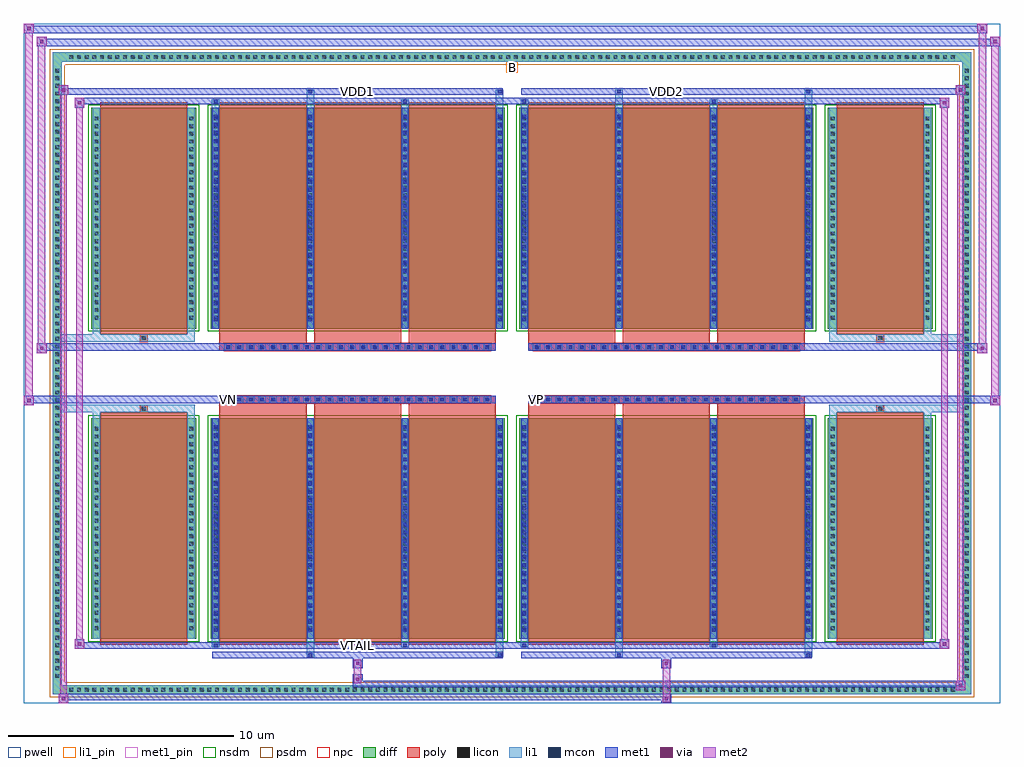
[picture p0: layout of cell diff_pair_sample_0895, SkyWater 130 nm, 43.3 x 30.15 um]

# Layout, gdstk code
import gdstk
lib = gdstk.Library(unit=1e-6, precision=5e-09)
def R(c, l, rs):  # rectangles x0, y0, x1, y1
    for r in rs: c.add(gdstk.rectangle(r[:2], r[2:], *l))
def A(c, l, x, y, w, h, nx, ny, dx, dy):  # array of equal rectangles
    R(c, l, [(x+i*dx, y+j*dy, x+i*dx+w, y+j*dy+h) for i in range(nx) for j in range(ny)])
def P(c, l, *ps):  # polygons
    for p in ps: c.add(gdstk.Polygon(p, *l))
pwell = (64, 44)
diff = (65, 20)
poly = (66, 20)
licon = (66, 44)
li1_pin = (67, 16)
li1 = (67, 20)
mcon = (67, 44)
met1_pin = (68, 16)
met1 = (68, 20)
via = (68, 44)
met2 = (69, 20)
nsdm = (93, 44)
psdm = (94, 20)
npc = (95, 20)

diff_pair_sample_0895 = lib.new_cell('diff_pair_sample_0895')
R(diff_pair_sample_0895, pwell, [(-21.65,-14.64,21.65,15.51), (-18.97,-12.83,-0.01,-0.795), (0.01,-12.83,18.97,-0.795), (-18.97,0.795,-0.01,12.83), (0.01,0.795,18.97,12.83)])
A(diff_pair_sample_0895, diff, -19.755, -14.24, 0.41, 0.41, 116, 2, 0.34, 28.07)
A(diff_pair_sample_0895, diff, -20.38, -13.635, 0.41, 0.41, 1, 80, 0, 0.34)
A(diff_pair_sample_0895, diff, 19.97, -13.635, 0.41, 0.41, 1, 80, 0, 0.34)
R(diff_pair_sample_0895, diff, [(-19.755,-14.24,19.755,-13.83), (-20.38,-13.635,-19.97,13.635), (19.97,-13.635,20.38,13.635), (-18.66,-11.785,-14.01,-1.985), (-13.37,-11.785,-0.32,-1.985), (0.32,-11.785,13.37,-1.985), (14.01,-11.785,18.66,-1.985), (-18.66,1.985,-14.01,11.785), (-13.37,1.985,-0.32,11.785), (0.32,1.985,13.37,11.785), (14.01,1.985,18.66,11.785), (-19.755,13.83,19.755,14.24)])
P(diff_pair_sample_0895, diff, [(20.38,14.24),(-20.38,14.24),(-20.38,-13.83),(-19.97,-13.83),(-19.97,13.83),(19.97,13.83),(19.97,-13.83),(-19.97,-13.83),(-20.38,-13.83),(-20.38,-14.24),(20.38,-14.24)])
A(diff_pair_sample_0895, poly, -12.98, -12.035, 3.87, 10.3, 3, 2, 4.2, 13.77)
A(diff_pair_sample_0895, poly, 0.71, -12.035, 3.87, 10.3, 3, 2, 4.2, 13.77)
A(diff_pair_sample_0895, poly, -12.98, -1.735, 3.87, 0.41, 3, 2, 4.2, 3.06)
A(diff_pair_sample_0895, poly, 0.71, -1.735, 3.87, 0.41, 3, 2, 4.2, 3.06)
A(diff_pair_sample_0895, poly, -12.76, -1.325, 0.33, 0.33, 24, 2, 0.5, 2.32)
A(diff_pair_sample_0895, poly, 0.93, -1.325, 0.33, 0.33, 24, 2, 0.5, 2.32)
R(diff_pair_sample_0895, poly, [(-18.27,-12.035,-14.4,-1.735), (14.4,-12.035,18.27,-1.735), (-16.5,-1.735,-16.17,-1.405), (-16.5,-1.735,-16.17,-1.405), (16.17,-1.735,16.5,-1.405), (16.17,-1.735,16.5,-1.405), (-12.98,-1.325,-0.71,-0.995), (0.71,-1.325,12.98,-0.995), (-12.98,0.995,-0.71,1.325), (0.71,0.995,12.98,1.325), (-16.5,1.405,-16.17,1.735), (-16.5,1.405,-16.17,1.735), (16.17,1.405,16.5,1.735), (16.17,1.405,16.5,1.735), (-18.27,1.735,-14.4,12.035), (14.4,1.735,18.27,12.035)])
A(diff_pair_sample_0895, licon, -19.635, -14.12, 0.17, 0.17, 116, 2, 0.34, 28.07)
A(diff_pair_sample_0895, licon, -20.26, -13.515, 0.17, 0.17, 1, 80, 0, 0.34)
A(diff_pair_sample_0895, licon, 20.09, -13.515, 0.17, 0.17, 1, 80, 0, 0.34)
A(diff_pair_sample_0895, licon, -18.52, -11.39, 0.17, 0.17, 1, 27, 0, 0.34)
A(diff_pair_sample_0895, licon, -14.32, -11.39, 0.17, 0.17, 1, 27, 0, 0.34)
A(diff_pair_sample_0895, licon, -13.23, -11.39, 0.17, 0.17, 4, 27, 4.2, 0.34)
A(diff_pair_sample_0895, licon, 0.46, -11.39, 0.17, 0.17, 4, 27, 4.2, 0.34)
A(diff_pair_sample_0895, licon, 14.15, -11.39, 0.17, 0.17, 1, 27, 0, 0.34)
A(diff_pair_sample_0895, licon, 18.35, -11.39, 0.17, 0.17, 1, 27, 0, 0.34)
A(diff_pair_sample_0895, licon, -12.68, -1.245, 0.17, 0.17, 24, 2, 0.5, 2.32)
A(diff_pair_sample_0895, licon, 1.01, -1.245, 0.17, 0.17, 24, 2, 0.5, 2.32)
A(diff_pair_sample_0895, licon, -18.52, 2.38, 0.17, 0.17, 1, 27, 0, 0.34)
A(diff_pair_sample_0895, licon, -14.32, 2.38, 0.17, 0.17, 1, 27, 0, 0.34)
A(diff_pair_sample_0895, licon, -13.23, 2.38, 0.17, 0.17, 4, 27, 4.2, 0.34)
A(diff_pair_sample_0895, licon, 0.46, 2.38, 0.17, 0.17, 4, 27, 4.2, 0.34)
A(diff_pair_sample_0895, licon, 14.15, 2.38, 0.17, 0.17, 1, 27, 0, 0.34)
A(diff_pair_sample_0895, licon, 18.35, 2.38, 0.17, 0.17, 1, 27, 0, 0.34)
R(diff_pair_sample_0895, licon, [(-16.42,-1.655,-16.25,-1.485), (16.25,-1.655,16.42,-1.485), (-16.42,1.485,-16.25,1.655), (16.25,1.485,16.42,1.655)])
R(diff_pair_sample_0895, li1_pin, [(-0.25,13.33,0.25,13.83)])
A(diff_pair_sample_0895, li1, -19.715, -14.2, 0.33, 0.33, 116, 2, 0.34, 28.07)
A(diff_pair_sample_0895, li1, -20.34, -13.595, 0.33, 0.33, 1, 80, 0, 0.34)
A(diff_pair_sample_0895, li1, 20.01, -13.595, 0.33, 0.33, 1, 80, 0, 0.34)
A(diff_pair_sample_0895, li1, -13.31, -11.785, 0.33, 9.8, 4, 2, 4.2, 13.77)
A(diff_pair_sample_0895, li1, 0.38, -11.785, 0.33, 9.8, 4, 2, 4.2, 13.77)
A(diff_pair_sample_0895, li1, -18.6, -11.47, 0.33, 0.33, 1, 27, 0, 0.34)
A(diff_pair_sample_0895, li1, -14.4, -11.47, 0.33, 0.33, 1, 27, 0, 0.34)
A(diff_pair_sample_0895, li1, -13.31, -11.47, 0.33, 0.33, 4, 27, 4.2, 0.34)
A(diff_pair_sample_0895, li1, -13.23, -11.47, 0.17, 0.17, 4, 26, 4.2, 0.36)
A(diff_pair_sample_0895, li1, -13.23, -11.47, 0.17, 9.17, 4, 2, 4.2, 13.77)
A(diff_pair_sample_0895, li1, 0.38, -11.47, 0.33, 0.33, 4, 27, 4.2, 0.34)
A(diff_pair_sample_0895, li1, 0.46, -11.47, 0.17, 0.17, 4, 26, 4.2, 0.36)
A(diff_pair_sample_0895, li1, 0.46, -11.47, 0.17, 9.17, 4, 2, 4.2, 13.77)
A(diff_pair_sample_0895, li1, 14.07, -11.47, 0.33, 0.33, 1, 27, 0, 0.34)
A(diff_pair_sample_0895, li1, 18.27, -11.47, 0.33, 0.33, 1, 27, 0, 0.34)
A(diff_pair_sample_0895, li1, -12.76, -1.325, 0.33, 0.33, 24, 2, 0.5, 2.32)
A(diff_pair_sample_0895, li1, 0.93, -1.325, 0.33, 0.33, 24, 2, 0.5, 2.32)
A(diff_pair_sample_0895, li1, -18.6, 2.3, 0.33, 0.33, 1, 27, 0, 0.34)
A(diff_pair_sample_0895, li1, -14.4, 2.3, 0.33, 0.33, 1, 27, 0, 0.34)
A(diff_pair_sample_0895, li1, -13.31, 2.3, 0.33, 0.33, 4, 27, 4.2, 0.34)
A(diff_pair_sample_0895, li1, -13.23, 2.3, 0.17, 0.17, 4, 26, 4.2, 0.36)
A(diff_pair_sample_0895, li1, 0.38, 2.3, 0.33, 0.33, 4, 27, 4.2, 0.34)
A(diff_pair_sample_0895, li1, 0.46, 2.3, 0.17, 0.17, 4, 26, 4.2, 0.36)
A(diff_pair_sample_0895, li1, 14.07, 2.3, 0.33, 0.33, 1, 27, 0, 0.34)
A(diff_pair_sample_0895, li1, 18.27, 2.3, 0.33, 0.33, 1, 27, 0, 0.34)
R(diff_pair_sample_0895, li1, [(-20.38,-14.24,-19.97,-13.83), (-20.38,-14.24,-19.97,-13.83), (-19.97,-14.24,19.97,-13.83), (19.97,-14.24,20.38,-13.83), (19.97,-14.24,20.38,-13.83), (-20.38,-13.83,-19.97,13.83), (19.97,-13.83,20.38,13.83), (-9.11,-12.59,-8.78,-11.785), (-9.03,-12.59,-8.86,-12.42), (-0.71,-12.59,-0.38,-11.785), (-0.63,-12.59,-0.46,-12.42), (4.58,-12.59,4.91,-11.785), (4.66,-12.59,4.83,-12.42), (12.98,-12.59,13.31,-11.785), (13.06,-12.59,13.23,-12.42), (-13.31,-12.16,-12.98,-11.785), (-13.23,-12.16,-13.06,-11.99), (-4.91,-12.16,-4.58,-11.785), (-4.83,-12.16,-4.66,-11.99), (0.38,-12.16,0.71,-11.785), (0.46,-12.16,0.63,-11.99), (8.78,-12.16,9.11,-11.785), (8.86,-12.16,9.03,-11.99), (-18.6,-11.785,-18.27,-1.985), (-14.4,-11.785,-14.07,-1.985), (14.07,-11.785,14.4,-1.985), (18.27,-11.785,18.6,-1.985), (-18.6,-1.985,-18.27,-1.405), (-14.4,-1.985,-14.07,-1.405), (14.07,-1.985,14.4,-1.405), (18.27,-1.985,18.6,-1.405), (-20.38,-1.735,-16.5,-1.405), (-18.6,-1.735,-16.5,-1.405), (-16.5,-1.735,-16.17,-1.405), (-16.17,-1.735,-14.07,-1.405), (14.07,-1.735,16.17,-1.405), (16.17,-1.735,16.5,-1.405), (16.17,-1.735,20.38,-1.405), (16.5,-1.735,18.6,-1.405), (-20.38,1.405,-16.5,1.735), (-18.6,1.405,-16.5,1.735), (-18.6,1.405,-18.27,1.985), (-16.5,1.405,-16.17,1.735), (-16.17,1.405,-14.07,1.735), (-14.4,1.405,-14.07,1.985), (14.07,1.405,16.17,1.735), (14.07,1.405,14.4,1.985), (16.17,1.405,16.5,1.735), (16.17,1.405,20.38,1.735), (16.5,1.405,18.6,1.735), (18.27,1.405,18.6,1.985), (-18.6,1.985,-18.27,11.785), (-14.4,1.985,-14.07,11.785), (14.07,1.985,14.4,11.785), (18.27,1.985,18.6,11.785), (-13.31,11.785,-12.98,12.16), (-9.11,11.785,-8.78,12.59), (-4.91,11.785,-4.58,12.16), (-0.71,11.785,-0.38,12.59), (0.38,11.785,0.71,12.16), (4.58,11.785,4.91,12.59), (8.78,11.785,9.11,12.16), (12.98,11.785,13.31,12.59), (-13.23,11.99,-13.06,12.16), (-4.83,11.99,-4.66,12.16), (0.46,11.99,0.63,12.16), (8.86,11.99,9.03,12.16), (-9.03,12.42,-8.86,12.59), (-0.63,12.42,-0.46,12.59), (4.66,12.42,4.83,12.59), (13.06,12.42,13.23,12.59), (-20.38,13.83,-19.97,14.24), (-20.38,13.83,-19.97,14.24), (-19.97,13.83,19.97,14.24), (19.97,13.83,20.38,14.24), (19.97,13.83,20.38,14.24)])
A(diff_pair_sample_0895, mcon, -13.23, -11.47, 0.17, 0.17, 4, 26, 4.2, 0.36)
A(diff_pair_sample_0895, mcon, 0.46, -11.47, 0.17, 0.17, 4, 26, 4.2, 0.36)
A(diff_pair_sample_0895, mcon, -12.68, -1.245, 0.17, 0.17, 24, 2, 0.5, 2.32)
A(diff_pair_sample_0895, mcon, 1.01, -1.245, 0.17, 0.17, 24, 2, 0.5, 2.32)
A(diff_pair_sample_0895, mcon, -13.23, 2.3, 0.17, 0.17, 4, 26, 4.2, 0.36)
A(diff_pair_sample_0895, mcon, 0.46, 2.3, 0.17, 0.17, 4, 26, 4.2, 0.36)
R(diff_pair_sample_0895, mcon, [(-9.03,-12.59,-8.86,-12.42), (-0.63,-12.59,-0.46,-12.42), (4.66,-12.59,4.83,-12.42), (13.06,-12.59,13.23,-12.42), (-13.23,-12.16,-13.06,-11.99), (-4.83,-12.16,-4.66,-11.99), (0.46,-12.16,0.63,-11.99), (8.86,-12.16,9.03,-11.99), (-13.23,11.99,-13.06,12.16), (-4.83,11.99,-4.66,12.16), (0.46,11.99,0.63,12.16), (8.86,11.99,9.03,12.16), (-9.03,12.42,-8.86,12.59), (-0.63,12.42,-0.46,12.59), (4.66,12.42,4.83,12.59), (13.06,12.42,13.23,12.59)])
R(diff_pair_sample_0895, met1_pin, [(-6.98,-12.2,-6.71,-11.93), (-12.73,-1.285,-12.46,-1.015), (0.96,-1.285,1.23,-1.015), (-6.98,12.38,-6.71,12.65), (6.71,12.38,6.98,12.65)])
A(diff_pair_sample_0895, met1, -13.29, -11.785, 0.29, 9.8, 4, 2, 4.2, 13.77)
A(diff_pair_sample_0895, met1, 0.4, -11.785, 0.29, 9.8, 4, 2, 4.2, 13.77)
A(diff_pair_sample_0895, met1, -13.29, -11.53, 0.29, 0.29, 4, 26, 4.2, 0.36)
A(diff_pair_sample_0895, met1, 0.4, -11.53, 0.29, 0.29, 4, 26, 4.2, 0.36)
A(diff_pair_sample_0895, met1, -12.74, -1.305, 0.29, 0.29, 24, 2, 0.5, 2.32)
A(diff_pair_sample_0895, met1, 0.95, -1.305, 0.29, 0.29, 24, 2, 0.5, 2.32)
A(diff_pair_sample_0895, met1, -13.29, 2.24, 0.29, 0.29, 4, 26, 4.2, 0.36)
A(diff_pair_sample_0895, met1, 0.4, 2.24, 0.29, 0.29, 4, 26, 4.2, 0.36)
R(diff_pair_sample_0895, met1, [(-20.11,-14.64,-19.68,-14.21), (6.63,-14.64,7.06,-14.21), (-20.11,-14.5,7.06,-14.21), (19.68,-14.07,20.11,-13.64), (-7.06,-13.93,20.11,-13.64), (-7.06,-13.79,-6.63,-13.36), (-7.06,-13.08,-6.63,-12.65), (6.63,-13.08,7.06,-12.65), (-13.29,-12.65,-0.4,-12.36), (-9.09,-12.65,-8.8,-12.36), (-0.69,-12.65,-0.4,-12.36), (0.4,-12.65,13.29,-12.36), (4.6,-12.65,4.89,-12.36), (13,-12.65,13.29,-12.36), (-19.4,-12.22,-18.97,-11.79), (-19.4,-12.22,-13.29,-11.93), (-13.29,-12.22,-13,-11.93), (-13.29,-12.22,-0.4,-11.93), (-4.89,-12.22,-4.6,-11.93), (-0.4,-12.22,0.4,-11.93), (0.4,-12.22,0.69,-11.93), (0.4,-12.22,13.29,-11.93), (8.8,-12.22,9.09,-11.93), (13.29,-12.22,19.4,-11.93), (18.97,-12.22,19.4,-11.79), (-21.65,-1.425,-21.22,-0.995), (21.22,-1.425,21.65,-0.995), (-21.65,-1.325,-0.71,-0.995), (-12.98,-1.325,-0.71,-0.995), (0.71,-1.325,12.98,-0.995), (0.71,-1.325,21.65,-0.995), (-21.08,0.895,-20.65,1.325), (20.65,0.895,21.08,1.325), (-21.08,0.995,-12.98,1.325), (-12.98,0.995,-0.71,1.325), (0.71,0.995,12.98,1.325), (12.98,0.995,21.08,1.325), (-19.4,11.79,-18.97,12.22), (18.97,11.79,19.4,12.22), (-19.4,11.93,-13.29,12.22), (-13.29,11.93,-13,12.22), (-13.29,11.93,-0.4,12.22), (-4.89,11.93,-4.6,12.22), (-0.4,11.93,0.4,12.22), (0.4,11.93,0.69,12.22), (0.4,11.93,13.29,12.22), (8.8,11.93,9.09,12.22), (13.29,11.93,19.4,12.22), (-20.11,12.36,-19.68,12.79), (-20.11,12.36,-13.29,12.65), (-13.29,12.36,-0.4,12.65), (-9.09,12.36,-8.8,12.65), (-0.69,12.36,-0.4,12.65), (0.4,12.36,13.29,12.65), (4.6,12.36,4.89,12.65), (13,12.36,13.29,12.65), (13.29,12.36,20.11,12.65), (19.68,12.36,20.11,12.79), (-21.08,14.51,-20.65,14.94), (-21.08,14.51,-18.97,14.84), (-18.97,14.51,18.97,14.84), (18.97,14.51,21.65,14.84), (21.22,14.51,21.65,14.94), (-21.65,15.08,-21.22,15.51), (-21.65,15.08,-18.97,15.41), (-18.97,15.08,18.97,15.41), (18.97,15.08,21.08,15.41), (20.65,15.08,21.08,15.51)])
R(diff_pair_sample_0895, via, [(-19.97,-14.5,-19.82,-14.35), (6.77,-14.5,6.92,-14.35), (19.82,-13.93,19.97,-13.78), (-6.92,-13.65,-6.77,-13.5), (-6.92,-12.94,-6.77,-12.79), (6.77,-12.94,6.92,-12.79), (-19.26,-12.08,-19.11,-11.93), (19.11,-12.08,19.26,-11.93), (-21.51,-1.285,-21.36,-1.135), (21.36,-1.285,21.51,-1.135), (-20.94,1.035,-20.79,1.185), (20.79,1.035,20.94,1.185), (-19.26,11.93,-19.11,12.08), (19.11,11.93,19.26,12.08), (-19.97,12.5,-19.82,12.65), (19.82,12.5,19.97,12.65), (-20.94,14.65,-20.79,14.8), (21.36,14.65,21.51,14.8), (-21.51,15.22,-21.36,15.37), (20.79,15.22,20.94,15.37)])
R(diff_pair_sample_0895, met2, [(-20.11,-14.64,-19.68,-14.21), (-20.04,-14.64,-19.75,12.79), (-19.75,-14.64,-19.68,-14.21), (-20.06,-14.59,-19.73,-14.26), (6.68,-14.59,7.01,-14.26), (6.68,-14.26,7.01,-13.03), (19.68,-14.07,20.11,-13.64), (19.75,-14.07,20.04,12.79), (20.04,-14.07,20.11,-13.64), (19.73,-14.02,20.06,-13.69), (-7.01,-13.74,-6.68,-13.41), (-7.01,-13.41,-6.68,-13.03), (-7.01,-13.03,-6.68,-12.7), (6.68,-13.03,7.01,-12.7), (-19.4,-12.22,-18.97,-11.79), (-19.33,-12.22,-19.04,12.22), (-19.04,-12.22,-18.97,-11.79), (18.97,-12.22,19.4,-11.79), (19.04,-12.22,19.33,12.22), (19.33,-12.22,19.4,-11.79), (-19.35,-12.17,-19.02,-11.84), (19.02,-12.17,19.35,-11.84), (-21.65,-1.425,-21.22,-0.995), (-21.6,-1.425,-21.27,15.51), (-21.27,-1.425,-21.22,-0.995), (21.22,-1.425,21.65,-0.995), (21.27,-1.425,21.6,14.94), (21.6,-1.425,21.65,-0.995), (-21.6,-1.375,-21.27,-1.045), (21.27,-1.375,21.6,-1.045), (-21.08,0.895,-20.65,1.325), (-21.03,0.895,-20.7,14.94), (-20.7,0.895,-20.65,1.325), (20.65,0.895,21.08,1.325), (20.7,0.895,21.03,15.51), (21.03,0.895,21.08,1.325), (-21.03,0.945,-20.7,1.275), (20.7,0.945,21.03,1.275), (-19.4,11.79,-18.97,12.22), (-19.04,11.79,-18.97,12.22), (18.97,11.79,19.4,12.22), (19.33,11.79,19.4,12.22), (-19.35,11.84,-19.02,12.17), (19.02,11.84,19.35,12.17), (-20.11,12.36,-19.68,12.79), (-19.75,12.36,-19.68,12.79), (19.68,12.36,20.11,12.79), (20.04,12.36,20.11,12.79), (-20.06,12.41,-19.73,12.74), (19.73,12.41,20.06,12.74), (-21.08,14.51,-20.65,14.94), (-20.7,14.51,-20.65,14.94), (21.22,14.51,21.65,14.94), (21.6,14.51,21.65,14.94), (-21.03,14.56,-20.7,14.89), (21.27,14.56,21.6,14.89), (-21.65,15.08,-21.22,15.51), (-21.27,15.08,-21.22,15.51), (20.65,15.08,21.08,15.51), (21.03,15.08,21.08,15.51), (-21.6,15.13,-21.27,15.46), (20.7,15.13,21.03,15.46)])
R(diff_pair_sample_0895, nsdm, [(-18.79,-11.915,-13.88,-1.855), (-13.5,-11.915,-0.19,-1.855), (0.19,-11.915,13.5,-1.855), (13.88,-11.915,18.79,-1.855), (-18.79,1.855,-13.88,11.915), (-13.5,1.855,-0.19,11.915), (0.19,1.855,13.5,11.915), (13.88,1.855,18.79,11.915)])
P(diff_pair_sample_0895, psdm, [(20.51,14.37),(-20.51,14.37),(-20.51,-13.7),(-19.84,-13.7),(-19.84,13.7),(19.84,13.7),(19.84,-13.7),(-19.84,-13.7),(-20.51,-13.7),(-20.51,-14.37),(20.51,-14.37)])
A(diff_pair_sample_0895, npc, -12.78, -1.345, 0.37, 0.37, 24, 2, 0.5, 2.32)
A(diff_pair_sample_0895, npc, 0.91, -1.345, 0.37, 0.37, 24, 2, 0.5, 2.32)
R(diff_pair_sample_0895, npc, [(-16.52,-1.755,-16.15,-1.385), (16.15,-1.755,16.52,-1.385), (-12.78,-1.345,-11.91,-0.975), (-12.78,-1.345,-11.91,-0.975), (-12.28,-1.345,-11.41,-0.975), (-12.28,-1.345,-11.41,-0.975), (-11.78,-1.345,-10.91,-0.975), (-11.78,-1.345,-10.91,-0.975), (-11.28,-1.345,-10.41,-0.975), (-11.28,-1.345,-10.41,-0.975), (-10.78,-1.345,-9.91,-0.975), (-10.78,-1.345,-9.91,-0.975), (-10.28,-1.345,-9.41,-0.975), (-10.28,-1.345,-9.41,-0.975), (-9.78,-1.345,-8.91,-0.975), (-9.78,-1.345,-8.91,-0.975), (-9.28,-1.345,-8.41,-0.975), (-9.28,-1.345,-8.41,-0.975), (-8.78,-1.345,-7.91,-0.975), (-8.78,-1.345,-7.91,-0.975), (-8.28,-1.345,-7.41,-0.975), (-8.28,-1.345,-7.41,-0.975), (-7.78,-1.345,-6.91,-0.975), (-7.78,-1.345,-6.91,-0.975), (-7.28,-1.345,-6.41,-0.975), (-7.28,-1.345,-6.41,-0.975), (-6.78,-1.345,-5.91,-0.975), (-6.78,-1.345,-5.91,-0.975), (-6.28,-1.345,-5.41,-0.975), (-6.28,-1.345,-5.41,-0.975), (-5.78,-1.345,-4.91,-0.975), (-5.78,-1.345,-4.91,-0.975), (-5.28,-1.345,-4.41,-0.975), (-5.28,-1.345,-4.41,-0.975), (-4.78,-1.345,-3.91,-0.975), (-4.78,-1.345,-3.91,-0.975), (-4.28,-1.345,-3.41,-0.975), (-4.28,-1.345,-3.41,-0.975), (-3.78,-1.345,-2.91,-0.975), (-3.78,-1.345,-2.91,-0.975), (-3.28,-1.345,-2.41,-0.975), (-3.28,-1.345,-2.41,-0.975), (-2.78,-1.345,-1.91,-0.975), (-2.78,-1.345,-1.91,-0.975), (-2.28,-1.345,-1.41,-0.975), (-2.28,-1.345,-1.41,-0.975), (-1.78,-1.345,-0.91,-0.975), (-1.78,-1.345,-0.91,-0.975), (0.91,-1.345,1.78,-0.975), (0.91,-1.345,1.78,-0.975), (1.41,-1.345,2.28,-0.975), (1.41,-1.345,2.28,-0.975), (1.91,-1.345,2.78,-0.975), (1.91,-1.345,2.78,-0.975), (2.41,-1.345,3.28,-0.975), (2.41,-1.345,3.28,-0.975), (2.91,-1.345,3.78,-0.975), (2.91,-1.345,3.78,-0.975), (3.41,-1.345,4.28,-0.975), (3.41,-1.345,4.28,-0.975), (3.91,-1.345,4.78,-0.975), (3.91,-1.345,4.78,-0.975), (4.41,-1.345,5.28,-0.975), (4.41,-1.345,5.28,-0.975), (4.91,-1.345,5.78,-0.975), (4.91,-1.345,5.78,-0.975), (5.41,-1.345,6.28,-0.975), (5.41,-1.345,6.28,-0.975), (5.91,-1.345,6.78,-0.975), (5.91,-1.345,6.78,-0.975), (6.41,-1.345,7.28,-0.975), (6.41,-1.345,7.28,-0.975), (6.91,-1.345,7.78,-0.975), (6.91,-1.345,7.78,-0.975), (7.41,-1.345,8.28,-0.975), (7.41,-1.345,8.28,-0.975), (7.91,-1.345,8.78,-0.975), (7.91,-1.345,8.78,-0.975), (8.41,-1.345,9.28,-0.975), (8.41,-1.345,9.28,-0.975), (8.91,-1.345,9.78,-0.975), (8.91,-1.345,9.78,-0.975), (9.41,-1.345,10.28,-0.975), (9.41,-1.345,10.28,-0.975), (9.91,-1.345,10.78,-0.975), (9.91,-1.345,10.78,-0.975), (10.41,-1.345,11.28,-0.975), (10.41,-1.345,11.28,-0.975), (10.91,-1.345,11.78,-0.975), (10.91,-1.345,11.78,-0.975), (11.41,-1.345,12.28,-0.975), (11.41,-1.345,12.28,-0.975), (11.91,-1.345,12.78,-0.975), (11.91,-1.345,12.78,-0.975), (-12.78,0.975,-11.91,1.345), (-12.78,0.975,-11.91,1.345), (-12.28,0.975,-11.41,1.345), (-12.28,0.975,-11.41,1.345), (-11.78,0.975,-10.91,1.345), (-11.78,0.975,-10.91,1.345), (-11.28,0.975,-10.41,1.345), (-11.28,0.975,-10.41,1.345), (-10.78,0.975,-9.91,1.345), (-10.78,0.975,-9.91,1.345), (-10.28,0.975,-9.41,1.345), (-10.28,0.975,-9.41,1.345), (-9.78,0.975,-8.91,1.345), (-9.78,0.975,-8.91,1.345), (-9.28,0.975,-8.41,1.345), (-9.28,0.975,-8.41,1.345), (-8.78,0.975,-7.91,1.345), (-8.78,0.975,-7.91,1.345), (-8.28,0.975,-7.41,1.345), (-8.28,0.975,-7.41,1.345), (-7.78,0.975,-6.91,1.345), (-7.78,0.975,-6.91,1.345), (-7.28,0.975,-6.41,1.345), (-7.28,0.975,-6.41,1.345), (-6.78,0.975,-5.91,1.345), (-6.78,0.975,-5.91,1.345), (-6.28,0.975,-5.41,1.345), (-6.28,0.975,-5.41,1.345), (-5.78,0.975,-4.91,1.345), (-5.78,0.975,-4.91,1.345), (-5.28,0.975,-4.41,1.345), (-5.28,0.975,-4.41,1.345), (-4.78,0.975,-3.91,1.345), (-4.78,0.975,-3.91,1.345), (-4.28,0.975,-3.41,1.345), (-4.28,0.975,-3.41,1.345), (-3.78,0.975,-2.91,1.345), (-3.78,0.975,-2.91,1.345), (-3.28,0.975,-2.41,1.345), (-3.28,0.975,-2.41,1.345), (-2.78,0.975,-1.91,1.345), (-2.78,0.975,-1.91,1.345), (-2.28,0.975,-1.41,1.345), (-2.28,0.975,-1.41,1.345), (-1.78,0.975,-0.91,1.345), (-1.78,0.975,-0.91,1.345), (0.91,0.975,1.78,1.345), (0.91,0.975,1.78,1.345), (1.41,0.975,2.28,1.345), (1.41,0.975,2.28,1.345), (1.91,0.975,2.78,1.345), (1.91,0.975,2.78,1.345), (2.41,0.975,3.28,1.345), (2.41,0.975,3.28,1.345), (2.91,0.975,3.78,1.345), (2.91,0.975,3.78,1.345), (3.41,0.975,4.28,1.345), (3.41,0.975,4.28,1.345), (3.91,0.975,4.78,1.345), (3.91,0.975,4.78,1.345), (4.41,0.975,5.28,1.345), (4.41,0.975,5.28,1.345), (4.91,0.975,5.78,1.345), (4.91,0.975,5.78,1.345), (5.41,0.975,6.28,1.345), (5.41,0.975,6.28,1.345), (5.91,0.975,6.78,1.345), (5.91,0.975,6.78,1.345), (6.41,0.975,7.28,1.345), (6.41,0.975,7.28,1.345), (6.91,0.975,7.78,1.345), (6.91,0.975,7.78,1.345), (7.41,0.975,8.28,1.345), (7.41,0.975,8.28,1.345), (7.91,0.975,8.78,1.345), (7.91,0.975,8.78,1.345), (8.41,0.975,9.28,1.345), (8.41,0.975,9.28,1.345), (8.91,0.975,9.78,1.345), (8.91,0.975,9.78,1.345), (9.41,0.975,10.28,1.345), (9.41,0.975,10.28,1.345), (9.91,0.975,10.78,1.345), (9.91,0.975,10.78,1.345), (10.41,0.975,11.28,1.345), (10.41,0.975,11.28,1.345), (10.91,0.975,11.78,1.345), (10.91,0.975,11.78,1.345), (11.41,0.975,12.28,1.345), (11.41,0.975,12.28,1.345), (11.91,0.975,12.78,1.345), (11.91,0.975,12.78,1.345), (-16.52,1.385,-16.15,1.755), (16.15,1.385,16.52,1.755)])
diff_pair_sample_0895.add(gdstk.Label('VTAIL', (-6.845,-12.065), layer=68, texttype=5))
diff_pair_sample_0895.add(gdstk.Label('VN', (-12.595,-1.15), layer=68, texttype=5))
diff_pair_sample_0895.add(gdstk.Label('VP', (1.095,-1.15), layer=68, texttype=5))
diff_pair_sample_0895.add(gdstk.Label('B', (0,13.58), layer=67, texttype=5))
diff_pair_sample_0895.add(gdstk.Label('VDD2', (6.845,12.515), layer=68, texttype=5))
diff_pair_sample_0895.add(gdstk.Label('VDD1', (-6.845,12.515), layer=68, texttype=5))

lib.write_gds('diff_pair_sample_0895.gds')
